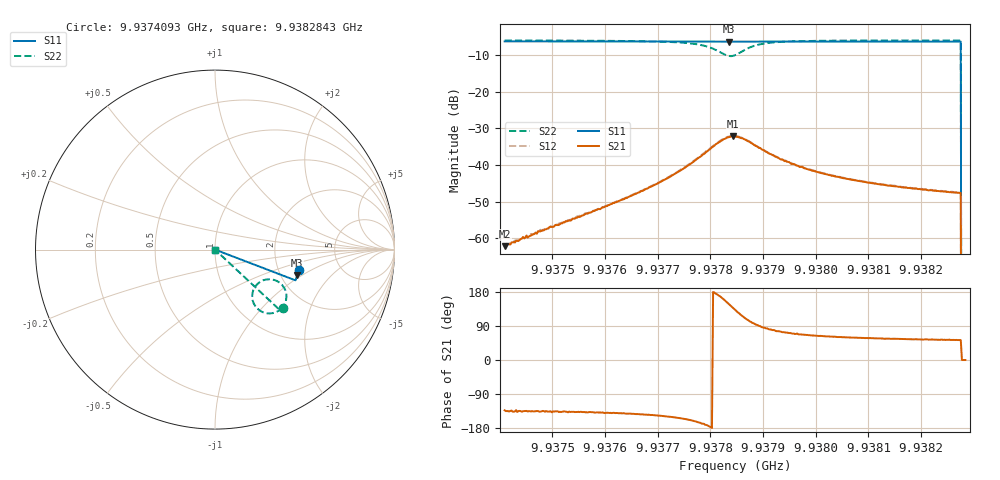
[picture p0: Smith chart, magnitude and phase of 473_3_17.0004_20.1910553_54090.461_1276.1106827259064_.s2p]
#  HZ  S  RI  R  50.00
! Rohde & Schwarz Vector Network Analyzer
! Rohde-Schwarz,ZNB20-2Port,1311601062101988,3.16
! Created: UTC 3/20/2024, 11:13:16 PM
! freq[Hz]  re:S11  im:S11  re:S21  im:S21  re:S12  im:S12  re:S22  im:S22
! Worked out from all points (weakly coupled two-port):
!   401 points, 9.9374093 GHz to 9.9382843 GHz, reference 50 ohm
!   highest |S21| = -32.18 dB at 9.9378424 GHz (marker M1); lowest = -62.2 dB at 9.9374093 GHz (marker M2)
!   lowest |S11| = -6.4 dB at 9.9378359 GHz (marker M3), VSWR 2.83, Z = 122 - j45.2 ohm
!   |S11| at or under -10 dB: 9.9382756 GHz to end of sweep
!   |S22| runs from - to -6.1 dB; largest |S21 - S12| = 0.001
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9.93740933e9  0.4692 -0.1158  -0.000528 -0.000571  -0.000551 -0.000551  0.3768 -0.3241
9.93749463e9  0.4672 -0.1216  -0.00101 -0.000987  -0.00102 -0.000977  0.3689 -0.331
9.93755588e9  0.4659 -0.1255  -0.00148 -0.00138  -0.00155 -0.00137  0.3616 -0.3365
9.93764119e9  0.4637 -0.1313  -0.00276 -0.00218  -0.00288 -0.00221  0.3461 -0.3455
9.93770244e9  0.4622 -0.1355  -0.00478 -0.00311  -0.00492 -0.00308  0.3259 -0.3529
9.93774837e9  0.4608 -0.1387  -0.00799 -0.00374  -0.00822 -0.00371  0.2972 -0.3555
9.93778993e9  0.4589 -0.1413  -0.0142 -0.00229  -0.0146 -0.00227  0.2471 -0.3376
9.93781837e9  0.4574 -0.1424  -0.0203 0.00429  -0.0206 0.00517  0.2085 -0.2748
9.93783587e9  0.4566 -0.1425  -0.0201 0.0131  -0.0199 0.0139  0.2232 -0.2077
9.93784243e9  0.4568 -0.1426  -0.0184 0.0163  -0.018 0.0169  0.2427 -0.1863
9.93784681e9  0.4568 -0.1427  -0.0164 0.0178  -0.0162 0.0188  0.2589 -0.1757
9.93785774e9  0.4571 -0.1428  -0.0113 0.0203  -0.011 0.0211  0.3023 -0.1651
9.93787305e9  0.4574 -0.1437  -0.00505 0.0203  -0.00443 0.0204  0.3515 -0.1787
9.9378993e9  0.4576 -0.1458  0.00098 0.016  0.0013 0.0161  0.3891 -0.2208
9.93793649e9  0.4571 -0.1487  0.00335 0.0113  0.00346 0.0114  0.398 -0.2624
9.93796274e9  0.4564 -0.1507  0.00357 0.0092  0.0038 0.0091  0.396 -0.2803
9.93799336e9  0.4558 -0.1529  0.00354 0.00754  0.00373 0.00759  0.3924 -0.2942
9.93805898e9  0.4539 -0.1572  0.00326 0.00559  0.0034 0.00558  0.3838 -0.3125
9.93813992e9  0.4519 -0.1627  0.00289 0.00432  0.00304 0.00433  0.3753 -0.3254
9.93827116e9  0.4482 -0.171  0.00252 0.00332  0.00263 0.0033  0.3641 -0.3388
9.9382821e9  0 0  0 0  0 0  0 0
9.93828429e9  0 0  0 0  0 0  0 0
